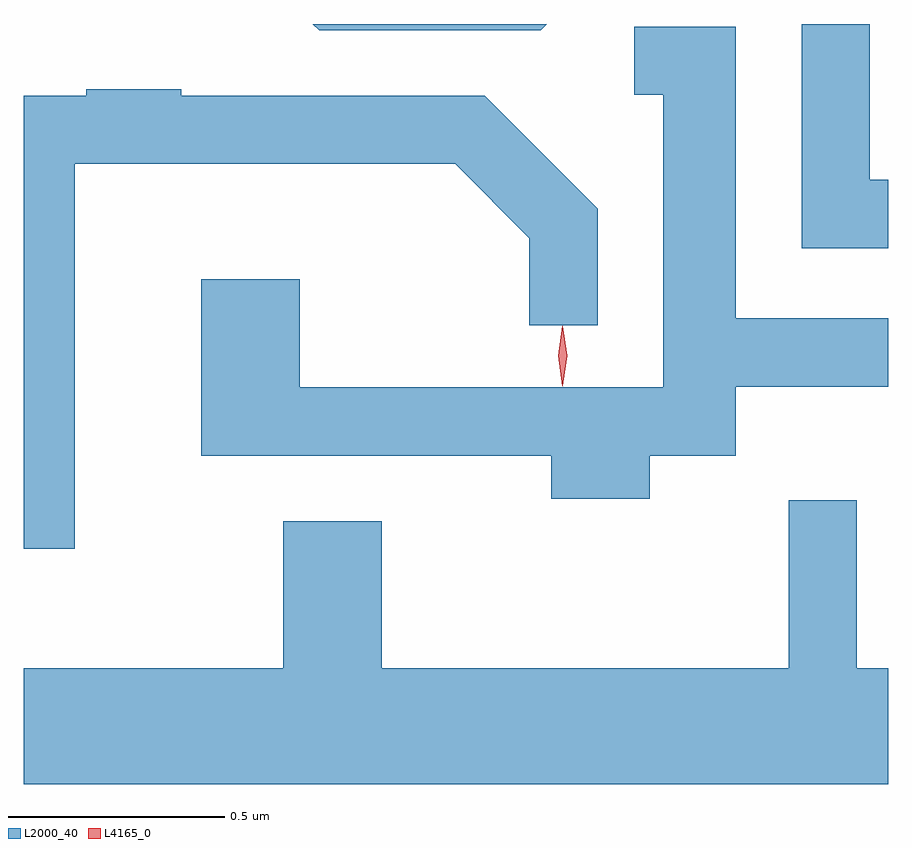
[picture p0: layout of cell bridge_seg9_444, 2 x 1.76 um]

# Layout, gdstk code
import gdstk
lib = gdstk.Library(unit=1e-6, precision=1e-09)
def P(c, l, *ps):  # polygons
    for p in ps: c.add(gdstk.Polygon(p, *l))
L2000_40 = (2000, 40)
L4165_0 = (4165, 0)

bridge_seg9_444 = lib.new_cell('bridge_seg9_444')
P(bridge_seg9_444, L2000_40, [(407.141,2082.375),(406.6,2082.375),(406.614,2082.361),(407.127,2082.361)],
  [(407.931,2082.014),(407.889,2082.014),(407.889,2082.375),(407.731,2082.375),(407.731,2081.856),(407.931,2081.856)],
  [(407.379,2081.376),(407.579,2081.376),(407.579,2081.536),(407.931,2081.536),(407.931,2081.694),(407.579,2081.694),(407.579,2082.369),(407.343,2082.369),(407.343,2082.211),(407.411,2082.211),(407.411,2081.534),(406.569,2081.534),(406.569,2081.784),(406.341,2081.784),(406.341,2081.376),(407.151,2081.376),(407.151,2081.276),(407.379,2081.276)],
  [(406.049,2082.051),(406.929,2082.051),(407.101,2081.879),(407.101,2081.678),(407.259,2081.678),(407.259,2081.947),(406.997,2082.209),(406.295,2082.209),(406.295,2082.224),(406.075,2082.224),(406.075,2082.209),(405.931,2082.209),(405.931,2081.161),(406.049,2081.161)],
  [(407.931,2080.884),(407.859,2080.884),(407.859,2081.273),(407.701,2081.273),(407.701,2080.884),(406.759,2080.884),(406.759,2081.224),(406.531,2081.224),(406.531,2080.884),(405.931,2080.884),(405.931,2080.616),(407.931,2080.616)])
P(bridge_seg9_444, L4165_0, [(407.178,2081.537),(407.177,2081.538),(407.168,2081.607),(407.177,2081.676),(407.178,2081.677),(407.178,2081.676),(407.188,2081.607),(407.178,2081.538)])

lib.write_gds('bridge_seg9_444.gds')
